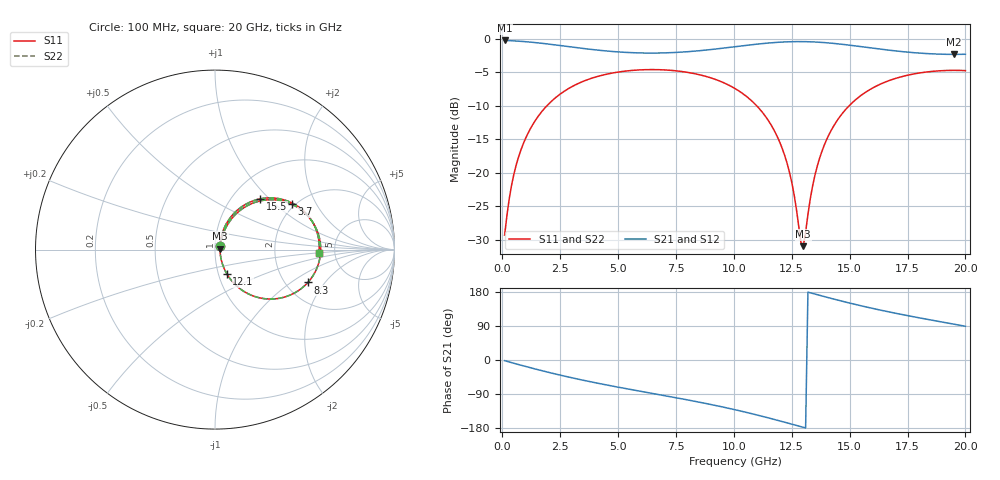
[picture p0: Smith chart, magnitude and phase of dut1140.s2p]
! Touchstone file exported from HFSS 2026.1.0
!  File:  C:/ffzhzh/LocalFiles/Ansys_Project_Files/temp_train_TSV_RDL_1140_1783308905_5512.aedt
!  Generated:  11:47:30 AM Jul  6, 2026
!  Design:  TSV_RDL
!  Project:  temp_train_TSV_RDL_1140_1783308905_5512
! Variables:
!  h_bsmrdl = 3.85um
!  h_ox = 20um
!  h_rdl = 5um
!  h_sub = 75.9um
!  h_tmrdl = 2.46um
!  h_tsv = 75.9um
!  h_via = 3um
!  l_bsmrdl = 524.26um
!  l_sub = 4599.48um
!  l_tmrdl = 630.11um
!  m_sub = 200um
!  pitch = 49.54um
!  r_tsv = 8.95um
!  s_tmrdl = 10um
!  w_bsmrdl = 16.13um
!  w_sub = 500um
!  w_tmrdl = 19.29um
!  x_tsv_center1 = 639.755um
!  x_tsv_center2 = 1180.145um
!  x_tsv_center3 = 1829.545um
!  x_tsv_center4 = 2369.935um
!  x_tsv_center5 = 3019.335um
!  x_tsv_center6 = 3559.725um
# GHz S MA R 50.000000
! Terminal data exported
! Port[1] = TM_RDL1_1_T1
! Port[2] = TM_RDL5_1_T1
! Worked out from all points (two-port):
!   200 points, 100 MHz to 20 GHz, reference 50 ohm
!   highest |S21| = -0.25 dB at 100 MHz (marker M1); lowest = -2.3 dB at 19.5 GHz (marker M2)
!   |S21| within 3 dB of the highest: start of sweep to end of sweep
!   lowest |S11| = -31.0 dB at 13 GHz (marker M3), VSWR 1.06, Z = 52.8 + j0.645 ohm
!   |S11| at or under -10 dB: start of sweep to 1.928 GHz; 10.99 GHz to 14.98 GHz (3.993 GHz wide, 30.8 % of centre)
!   |S22| runs from -31.0 to -4.6 dB; largest |S21 - S12| = 1.6e-14
!   S11 on the Smith chart (normalised r, x): 100 MHz: 1.06, +0.04; 3.7 GHz: 1.92, +1.29; 8.3 GHz: 2.63, -1.38; 12.1 GHz: 1.10, -0.30; 15.5 GHz: 1.34, +0.88; 20 GHz: 3.74, -0.19
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0.1  0.03425 32.3  0.9714 -1.8  0.9714 -1.8  0.03425 32.3
! Gamma 0 0 0 0
! Port Impedance 50 0 50 0
0.5  0.09739 62.6  0.9645 -8.7  0.9645 -8.7  0.09739 62.6
1.1  0.1954 61.6  0.948 -18.5  0.948 -18.5  0.1954 61.6
2.1  0.3387 50.4  0.9083 -34.1  0.9083 -34.1  0.3387 50.4
3.5  0.4816 33.0  0.8461 -53.5  0.8461 -53.5  0.4816 33.0
3.7  0.4965 30.6  0.8381 -56.1  0.8381 -56.1  0.4965 30.6
5.3  0.5734 12.7  0.7919 -75.1  0.7919 -75.1  0.5734 12.7
6.8  0.5875 -3.2  0.783 -91.7  0.783 -91.7  0.5875 -3.2
8.3  0.5492 -19.5  0.8082 -108.8  0.8082 -108.8  0.5492 -19.4
10.1  0.4201 -41.0  0.8745 -131.9  0.8745 -131.9  0.4201 -41.0
11.3  0.2729 -56.2  0.9231 -149.7  0.9231 -149.7  0.2729 -56.2
12.1  0.1501 -64.0  0.9455 -162.6  0.9455 -162.6  0.1501 -64.0
12.5  0.085 -62.1  0.9512 -169.3  0.9512 -169.3  0.08501 -62.0
12.9  0.03001 -20.2  0.9525 -176.0  0.9525 -176.0  0.03003 -20.2
13  0.0283 12.4  0.9522 -177.6  0.9522 -177.6  0.02832 12.4
13.4  0.07938 63.8  0.9479 175.7  0.9479 175.7  0.07938 63.8
13.7  0.1277 66.9  0.9419 170.7  0.9419 170.7  0.1277 66.9
14.2  0.2065 63.8  0.9274 162.6  0.9274 162.6  0.2065 63.8
15.5  0.3786 48.3  0.8734 143.0  0.8734 143.0  0.3786 48.3
16.7  0.487 33.7  0.8221 126.9  0.8221 126.9  0.487 33.7
19.5  0.5811 3.5  0.7647 94.6  0.7647 94.6  0.5811 3.5
20  0.5785 -1.6  0.7663 89.1  0.7663 89.1  0.5786 -1.6
